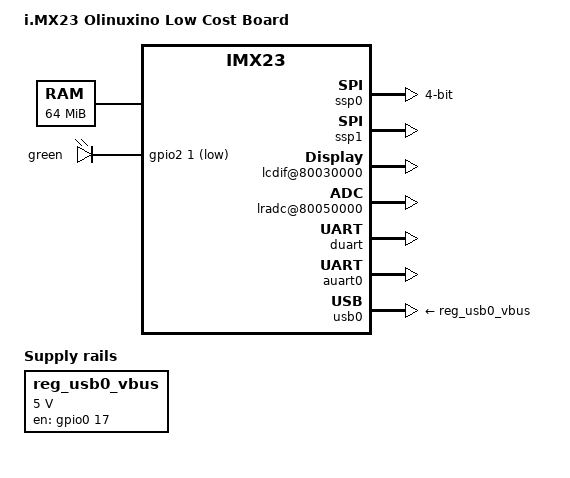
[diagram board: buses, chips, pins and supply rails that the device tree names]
/*
 * Copyright 2012 Freescale Semiconductor, Inc.
 *
 * Author: Fabio Estevam <fabio.estevam@freescale.com>
 *
 * The code contained herein is licensed under the GNU General Public
 * License. You may obtain a copy of the GNU General Public License
 * Version 2 or later at the following locations:
 *
 * http://www.opensource.org/licenses/gpl-license.html
 * http://www.gnu.org/copyleft/gpl.html
 */

/dts-v1/;
#include "imx23.dtsi"

/ {
	model = "i.MX23 Olinuxino Low Cost Board";
	compatible = "olimex,imx23-olinuxino", "fsl,imx23";

	memory {
		reg = <0x40000000 0x04000000>;
	};

	apb@80000000 {
		apbh@80000000 {
			ssp0: ssp@80010000 {
				compatible = "fsl,imx23-mmc";
				pinctrl-names = "default";
				pinctrl-0 = <&mmc0_4bit_pins_a &mmc0_pins_fixup>;
				bus-width = <4>;
				broken-cd;
				status = "okay";
			};

			pinctrl@80018000 {
				pinctrl-names = "default";
				pinctrl-0 = <&hog_pins_a>;

				hog_pins_a: hog@0 {
					reg = <0>;
					fsl,pinmux-ids = <
						0x0113 /* MX23_PAD_GPMI_ALE__GPIO_0_17 */
					>;
					fsl,drive-strength = <0>;
					fsl,voltage = <1>;
					fsl,pull-up = <0>;
				};

				led_pin_gpio2_1: led_gpio2_1@0 {
					reg = <0>;
					fsl,pinmux-ids = <
						0x2013 /* MX23_PAD_SSP1_DETECT__GPIO_2_1 */
					>;
					fsl,drive-strength = <0>;
					fsl,voltage = <1>;
					fsl,pull-up = <0>;
				};
				lcdif_16bit_pins_a: lcdif-16bit@0 {
					reg = <0>;
					fsl,pinmux-ids = <
						MX23_PAD_LCD_D00__LCD_D00
						MX23_PAD_LCD_D01__LCD_D01
						MX23_PAD_LCD_D02__LCD_D02
						MX23_PAD_LCD_D03__LCD_D03
						MX23_PAD_LCD_D04__LCD_D04
						MX23_PAD_LCD_D05__LCD_D05
						MX23_PAD_LCD_D06__LCD_D06
						MX23_PAD_LCD_D07__LCD_D07
						MX23_PAD_LCD_D08__LCD_D08
						MX23_PAD_LCD_D09__LCD_D09
						MX23_PAD_LCD_D10__LCD_D10
						MX23_PAD_LCD_D11__LCD_D11
						MX23_PAD_LCD_D12__LCD_D12
						MX23_PAD_LCD_D13__LCD_D13
						MX23_PAD_LCD_D14__LCD_D14
						MX23_PAD_LCD_D15__LCD_D15
						MX23_PAD_LCD_DOTCK__LCD_DOTCK
						MX23_PAD_LCD_ENABLE__LCD_ENABLE
						MX23_PAD_LCD_HSYNC__LCD_HSYNC
						MX23_PAD_LCD_VSYNC__LCD_VSYNC
					>;
					fsl,drive-strength = <MXS_DRIVE_12mA>;
					fsl,voltage = <MXS_VOLTAGE_HIGH>;
					fsl,pull-up = <MXS_PULL_DISABLE>;
				};

			};

			ssp1: ssp@80034000 {
				#address-cells = <1>;
				#size-cells = <0>;
				compatible = "fsl,imx23-spi";
				pinctrl-names = "default";
				pinctrl-0 = <&spi2_pins_a>;
				status = "okay";
			};

			lcdif@80030000 {
				pinctrl-names = "default";
				pinctrl-0 = <&lcdif_16bit_pins_a>;
				display = <&display>;
				status = "okay";

				display: display {
					bits-per-pixel = <16>;
					bus-width = <16>;

					display-timings {
						native-mode = <&timing0>;
						timing0: timing0 {
							clock-frequency = <2000000>;
							hactive = <960>; /* 960 */
							vactive = <8>;
							hback-porch = <0>; /* can be 0 */
							hfront-porch = <1>; /* canNOT be 0 */
							vback-porch = <1>;
							vfront-porch = <0>;
							hsync-len = <1>; /* Can be 0, but imx does weird things that way... */
							vsync-len = <1>;
							hsync-active = <1>;
							vsync-active = <1>;
							de-active = <0>;
							pixelclk-active = <1>;
						};
					};
				};
			};
		};

		apbx@80040000 {
			lradc@80050000 {
				status = "okay";
			};

			duart: serial@80070000 {
				pinctrl-names = "default";
				pinctrl-0 = <&duart_pins_a>;
				status = "okay";
			};

			auart0: serial@8006c000 {
				pinctrl-names = "default";
				pinctrl-0 = <&auart0_2pins_a>;
				status = "okay";
			};

			usbphy0: usbphy@8007c000 {
				status = "okay";
			};
		};
	};

	ahb@80080000 {
		usb0: usb@80080000 {
			vbus-supply = <&reg_usb0_vbus>;
			status = "okay";
		};
	};

	regulators {
		compatible = "simple-bus";

		reg_usb0_vbus: usb0_vbus {
			compatible = "regulator-fixed";
			regulator-name = "usb0_vbus";
			regulator-min-microvolt = <5000000>;
			regulator-max-microvolt = <5000000>;
			enable-active-high;
			startup-delay-us = <300>; /* LAN9215 requires a POR of 200us minimum */
			gpio = <&gpio0 17 0>;
		};
	};

	leds {
		compatible = "gpio-leds";
		pinctrl-names = "default";
		pinctrl-0 = <&led_pin_gpio2_1>;

		user {
			label = "green";
			gpios = <&gpio2 1 1>;
		};
	};
};
